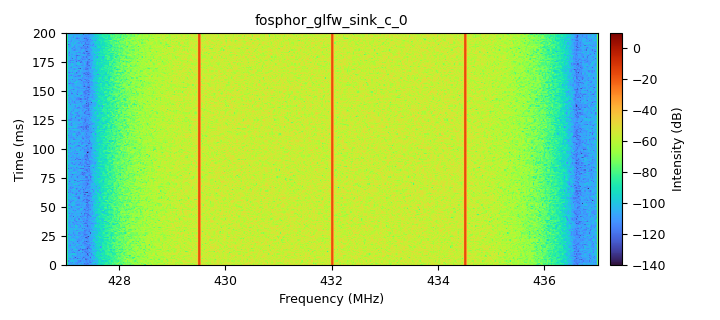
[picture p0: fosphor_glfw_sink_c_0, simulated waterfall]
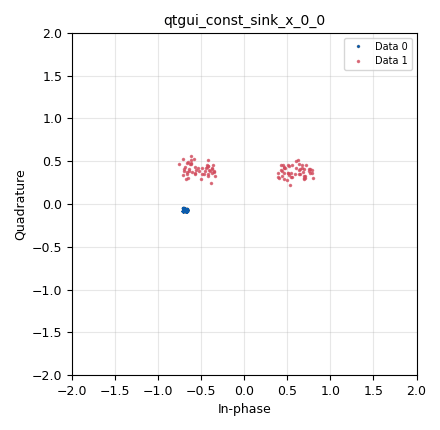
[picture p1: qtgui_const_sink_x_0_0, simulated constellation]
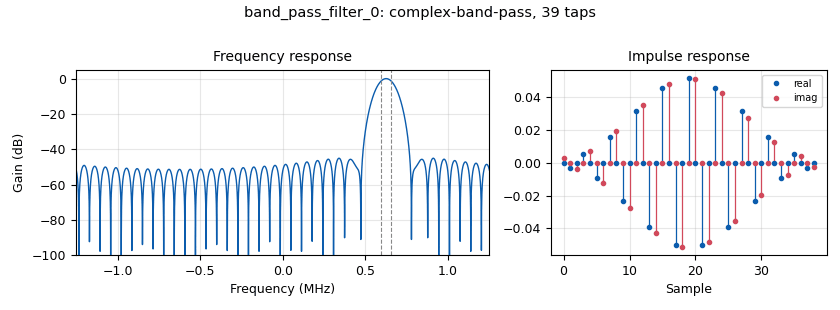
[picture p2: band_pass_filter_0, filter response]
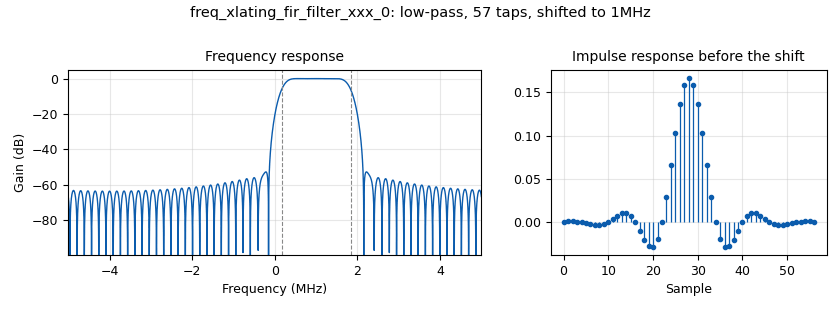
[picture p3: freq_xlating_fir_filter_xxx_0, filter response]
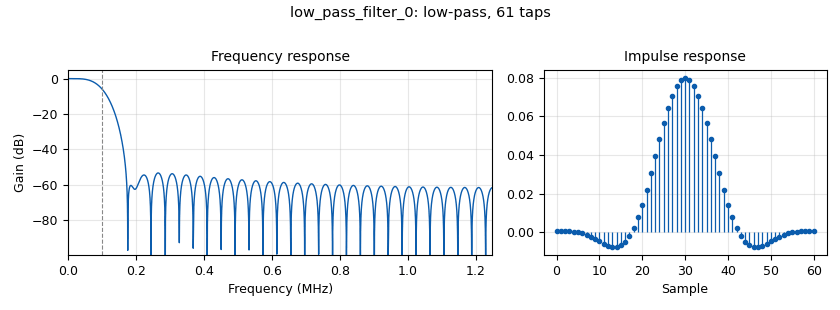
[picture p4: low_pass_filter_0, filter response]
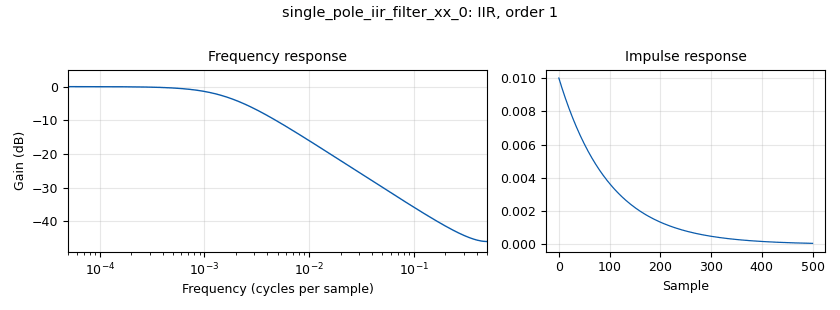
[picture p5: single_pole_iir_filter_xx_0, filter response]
<?xml version='1.0' encoding='utf-8'?>
<?grc format='1' created='3.7.11'?>
<flow_graph>
<block>
<key>options</key>
<param><key>id</key><value>top_block</value></param>
<param><key>generate_options</key><value>qt_gui</value></param>
</block>
<block>
<key>variable_qtgui_range</key>
<param><key>id</key><value>amplitude_0</value></param>
<param><key>value</key><value>1</value></param>
<param><key>orient</key><value>Qt.Horizontal</value></param>
<param><key>start</key><value>0</value></param>
<param><key>step</key><value>0.001</value></param>
<param><key>stop</key><value>1</value></param>
</block>
<block>
<key>variable_qtgui_range</key>
<param><key>id</key><value>amplitude_1</value></param>
<param><key>value</key><value>0</value></param>
<param><key>orient</key><value>Qt.Horizontal</value></param>
<param><key>start</key><value>0</value></param>
<param><key>step</key><value>0.001</value></param>
<param><key>stop</key><value>1</value></param>
</block>
<block>
<key>variable_qtgui_range</key>
<param><key>id</key><value>amplitude_2</value></param>
<param><key>value</key><value>0</value></param>
<param><key>orient</key><value>Qt.Horizontal</value></param>
<param><key>start</key><value>0</value></param>
<param><key>step</key><value>0.001</value></param>
<param><key>stop</key><value>1</value></param>
</block>
<block>
<key>variable_qtgui_range</key>
<param><key>id</key><value>angle_0</value></param>
<param><key>value</key><value>0</value></param>
<param><key>orient</key><value>Qt.Horizontal</value></param>
<param><key>start</key><value>-math.pi</value></param>
<param><key>step</key><value>math.pi/100</value></param>
<param><key>stop</key><value>math.pi</value></param>
</block>
<block>
<key>variable_qtgui_range</key>
<param><key>id</key><value>angle_1</value></param>
<param><key>value</key><value>0</value></param>
<param><key>orient</key><value>Qt.Horizontal</value></param>
<param><key>start</key><value>-math.pi</value></param>
<param><key>step</key><value>math.pi/100</value></param>
<param><key>stop</key><value>math.pi</value></param>
</block>
<block>
<key>variable_qtgui_range</key>
<param><key>id</key><value>angle_2</value></param>
<param><key>value</key><value>0</value></param>
<param><key>orient</key><value>Qt.Horizontal</value></param>
<param><key>start</key><value>-math.pi</value></param>
<param><key>step</key><value>math.pi/100</value></param>
<param><key>stop</key><value>math.pi</value></param>
</block>
<block>
<key>variable</key>
<param><key>id</key><value>antenna_position</value></param>
<param><key>value</key><value>(1, 0+1j, -1, 0-1j)</value></param>
</block>
<block>
<key>variable</key>
<param><key>id</key><value>antennas</value></param>
<param><key>value</key><value>4</value></param>
</block>
<block>
<key>variable</key>
<param><key>id</key><value>c</value></param>
<param><key>value</key><value>299792458</value></param>
</block>
<block>
<key>variable</key>
<param><key>id</key><value>carrier_freq</value></param>
<param><key>value</key><value>433e6</value></param>
</block>
<block>
<key>variable</key>
<param><key>id</key><value>decimation</value></param>
<param><key>value</key><value>4</value></param>
</block>
<block>
<key>variable</key>
<param><key>id</key><value>e</value></param>
<param><key>value</key><value>math.e</value></param>
</block>
<block>
<key>variable_qtgui_range</key>
<param><key>id</key><value>phase_0</value></param>
<param><key>value</key><value>0</value></param>
<param><key>_enabled</key><value>0</value></param>
<param><key>orient</key><value>Qt.Horizontal</value></param>
<param><key>start</key><value>-math.pi</value></param>
<param><key>step</key><value>math.pi/100</value></param>
<param><key>stop</key><value>math.pi</value></param>
</block>
<block>
<key>variable</key>
<param><key>id</key><value>phase_0</value></param>
<param><key>value</key><value>1</value></param>
</block>
<block>
<key>variable_qtgui_range</key>
<param><key>id</key><value>phase_1</value></param>
<param><key>value</key><value>0</value></param>
<param><key>_enabled</key><value>0</value></param>
<param><key>orient</key><value>Qt.Horizontal</value></param>
<param><key>start</key><value>-math.pi</value></param>
<param><key>step</key><value>math.pi/100</value></param>
<param><key>stop</key><value>math.pi</value></param>
</block>
<block>
<key>variable</key>
<param><key>id</key><value>phase_1</value></param>
<param><key>value</key><value>2</value></param>
</block>
<block>
<key>variable_qtgui_range</key>
<param><key>id</key><value>phase_2</value></param>
<param><key>value</key><value>0</value></param>
<param><key>_enabled</key><value>0</value></param>
<param><key>orient</key><value>Qt.Horizontal</value></param>
<param><key>start</key><value>-math.pi</value></param>
<param><key>step</key><value>math.pi/100</value></param>
<param><key>stop</key><value>math.pi</value></param>
</block>
<block>
<key>variable</key>
<param><key>id</key><value>phase_2</value></param>
<param><key>value</key><value>3</value></param>
</block>
<block>
<key>variable</key>
<param><key>id</key><value>radius</value></param>
<param><key>value</key><value>0.2</value></param>
</block>
<block>
<key>variable</key>
<param><key>id</key><value>rotation_rate</value></param>
<param><key>value</key><value>samp_rate/samples_per_rotation</value></param>
</block>
<block>
<key>variable</key>
<param><key>id</key><value>samp_rate</value></param>
<param><key>value</key><value>10e6</value></param>
</block>
<block>
<key>variable</key>
<param><key>id</key><value>samples_per_antenna</value></param>
<param><key>value</key><value>4</value></param>
</block>
<block>
<key>variable</key>
<param><key>id</key><value>samples_per_rotation</value></param>
<param><key>value</key><value>samples_per_antenna * antennas</value></param>
</block>
<block>
<key>variable_low_pass_filter_taps</key>
<param><key>id</key><value>taps</value></param>
<param><key>cutoff_freq</key><value>samp_rate/(decimation*3)</value></param>
<param><key>gain</key><value>1.0</value></param>
<param><key>samp_rate</key><value>samp_rate</value></param>
<param><key>width</key><value>samp_rate/(decimation*6)</value></param>
<param><key>win</key><value>firdes.WIN_HAMMING</value></param>
</block>
<block>
<key>variable</key>
<param><key>id</key><value>tau</value></param>
<param><key>value</key><value>2*math.pi</value></param>
</block>
<block>
<key>variable_qtgui_range</key>
<param><key>id</key><value>threshold</value></param>
<param><key>value</key><value>500</value></param>
<param><key>orient</key><value>Qt.Horizontal</value></param>
<param><key>start</key><value>0</value></param>
<param><key>step</key><value>1</value></param>
<param><key>stop</key><value>1000</value></param>
</block>
<block>
<key>variable</key>
<param><key>id</key><value>tuning_freq</value></param>
<param><key>value</key><value>432e6</value></param>
</block>
<block>
<key>variable</key>
<param><key>id</key><value>wavelength</value></param>
<param><key>value</key><value>c/carrier_freq</value></param>
</block>
<block>
<key>analog_const_source_x</key>
<param><key>id</key><value>analog_const_source_x_0</value></param>
<param><key>const</key><value>amplitude_0*e**(1j*(phase_0+((tau*radius*antenna_position[0]*(e**(1j*angle_0))).real/wavelength)))</value></param>
<param><key>type</key><value>complex</value></param>
</block>
<block>
<key>analog_const_source_x</key>
<param><key>id</key><value>analog_const_source_x_0_0</value></param>
<param><key>const</key><value>amplitude_0*e**(1j*(phase_0+((tau*radius*antenna_position[1]*(e**(1j*angle_0))).real/wavelength)))</value></param>
<param><key>type</key><value>complex</value></param>
</block>
<block>
<key>analog_const_source_x</key>
<param><key>id</key><value>analog_const_source_x_0_0_0</value></param>
<param><key>const</key><value>amplitude_0*e**(1j*(phase_0+((tau*radius*antenna_position[3]*(e**(1j*angle_0))).real/wavelength)))</value></param>
<param><key>type</key><value>complex</value></param>
</block>
<block>
<key>analog_const_source_x</key>
<param><key>id</key><value>analog_const_source_x_0_0_0_0</value></param>
<param><key>const</key><value>amplitude_1*e**(1j*(phase_1+((tau*radius*antenna_position[3]*(e**(1j*angle_1))).real/wavelength)))</value></param>
<param><key>type</key><value>complex</value></param>
</block>
<block>
<key>analog_const_source_x</key>
<param><key>id</key><value>analog_const_source_x_0_0_0_1</value></param>
<param><key>const</key><value>amplitude_2*e**(1j*(phase_2+((tau*radius*antenna_position[3]*(e**(1j*angle_2))).real/wavelength)))</value></param>
<param><key>type</key><value>complex</value></param>
</block>
<block>
<key>analog_const_source_x</key>
<param><key>id</key><value>analog_const_source_x_0_0_1</value></param>
<param><key>const</key><value>amplitude_1*e**(1j*(phase_1+((tau*radius*antenna_position[1]*(e**(1j*angle_1))).real/wavelength)))</value></param>
<param><key>type</key><value>complex</value></param>
</block>
<block>
<key>analog_const_source_x</key>
<param><key>id</key><value>analog_const_source_x_0_0_2</value></param>
<param><key>const</key><value>amplitude_2*e**(1j*(phase_2+((tau*radius*antenna_position[1]*(e**(1j*angle_2))).real/wavelength)))</value></param>
<param><key>type</key><value>complex</value></param>
</block>
<block>
<key>analog_const_source_x</key>
<param><key>id</key><value>analog_const_source_x_0_1</value></param>
<param><key>const</key><value>amplitude_0*e**(1j*(phase_0+((tau*radius*antenna_position[2]*(e**(1j*angle_0))).real/wavelength)))</value></param>
<param><key>type</key><value>complex</value></param>
</block>
<block>
<key>analog_const_source_x</key>
<param><key>id</key><value>analog_const_source_x_0_1_0</value></param>
<param><key>const</key><value>amplitude_1*e**(1j*(phase_1+((tau*radius*antenna_position[2]*(e**(1j*angle_1))).real/wavelength)))</value></param>
<param><key>type</key><value>complex</value></param>
</block>
<block>
<key>analog_const_source_x</key>
<param><key>id</key><value>analog_const_source_x_0_1_1</value></param>
<param><key>const</key><value>amplitude_2*e**(1j*(phase_2+((tau*radius*antenna_position[2]*(e**(1j*angle_2))).real/wavelength)))</value></param>
<param><key>type</key><value>complex</value></param>
</block>
<block>
<key>analog_const_source_x</key>
<param><key>id</key><value>analog_const_source_x_0_2</value></param>
<param><key>const</key><value>amplitude_1*e**(1j*(phase_1+((tau*radius*antenna_position[0]*(e**(1j*angle_1))).real/wavelength)))</value></param>
<param><key>type</key><value>complex</value></param>
</block>
<block>
<key>analog_const_source_x</key>
<param><key>id</key><value>analog_const_source_x_0_3</value></param>
<param><key>const</key><value>amplitude_2*e**(1j*(phase_2+((tau*radius*antenna_position[0]*(e**(1j*angle_2))).real/wavelength)))</value></param>
<param><key>type</key><value>complex</value></param>
</block>
<block>
<key>analog_fastnoise_source_x</key>
<param><key>id</key><value>analog_fastnoise_source_x_0</value></param>
<param><key>amp</key><value>0.2</value></param>
<param><key>noise_type</key><value>analog.GR_GAUSSIAN</value></param>
<param><key>type</key><value>complex</value></param>
<param><key>seed</key><value>0</value></param>
<param><key>samples</key><value>8192</value></param>
</block>
<block>
<key>analog_quadrature_demod_cf</key>
<param><key>id</key><value>analog_quadrature_demod_cf_0</value></param>
<param><key>gain</key><value>0.2</value></param>
</block>
<block>
<key>analog_sig_source_x</key>
<param><key>id</key><value>analog_sig_source_x_0</value></param>
<param><key>amp</key><value>1</value></param>
<param><key>freq</key><value>carrier_freq-tuning_freq</value></param>
<param><key>offset</key><value>0</value></param>
<param><key>type</key><value>complex</value></param>
<param><key>samp_rate</key><value>samp_rate</value></param>
<param><key>waveform</key><value>analog.GR_COS_WAVE</value></param>
</block>
<block>
<key>analog_sig_source_x</key>
<param><key>id</key><value>analog_sig_source_x_0_0</value></param>
<param><key>amp</key><value>1</value></param>
<param><key>freq</key><value>-rotation_rate</value></param>
<param><key>offset</key><value>0</value></param>
<param><key>type</key><value>complex</value></param>
<param><key>samp_rate</key><value>samp_rate/decimation</value></param>
<param><key>waveform</key><value>analog.GR_COS_WAVE</value></param>
</block>
<block>
<key>band_pass_filter</key>
<param><key>id</key><value>band_pass_filter_0</value></param>
<param><key>decim</key><value>1</value></param>
<param><key>type</key><value>fir_filter_ccc</value></param>
<param><key>gain</key><value>1</value></param>
<param><key>high_cutoff_freq</key><value>rotation_rate*1.05</value></param>
<param><key>low_cutoff_freq</key><value>rotation_rate*.95</value></param>
<param><key>samp_rate</key><value>samp_rate/decimation</value></param>
<param><key>width</key><value>rotation_rate/4</value></param>
<param><key>win</key><value>firdes.WIN_HAMMING</value></param>
</block>
<block>
<key>blocks_add_xx</key>
<param><key>id</key><value>blocks_add_xx_0</value></param>
<param><key>type</key><value>complex</value></param>
<param><key>num_inputs</key><value>3</value></param>
</block>
<block>
<key>blocks_add_xx</key>
<param><key>id</key><value>blocks_add_xx_1</value></param>
<param><key>type</key><value>complex</value></param>
</block>
<block>
<key>blocks_burst_tagger</key>
<param><key>id</key><value>blocks_burst_tagger_0</value></param>
<param><key>false_key</key><value>burst</value></param>
<param><key>false_value</key><value>False</value></param>
<param><key>type</key><value>complex</value></param>
<param><key>true_key</key><value>burst</value></param>
<param><key>true_value</key><value>True</value></param>
</block>
<block>
<key>blocks_complex_to_mag</key>
<param><key>id</key><value>blocks_complex_to_mag_0</value></param>
</block>
<block>
<key>blocks_complex_to_mag</key>
<param><key>id</key><value>blocks_complex_to_mag_1</value></param>
</block>
<block>
<key>blocks_divide_xx</key>
<param><key>id</key><value>blocks_divide_xx_0</value></param>
<param><key>type</key><value>complex</value></param>
</block>
<block>
<key>blocks_file_source</key>
<param><key>id</key><value>blocks_file_source_0</value></param>
<param><key>_enabled</key><value>0</value></param>
<param><key>type</key><value>complex</value></param>
<param><key>repeat</key><value>True</value></param>
</block>
<block>
<key>blocks_float_to_complex</key>
<param><key>id</key><value>blocks_float_to_complex_0</value></param>
</block>
<block>
<key>blocks_float_to_complex</key>
<param><key>id</key><value>blocks_float_to_complex_0_0</value></param>
</block>
<block>
<key>blocks_float_to_complex</key>
<param><key>id</key><value>blocks_float_to_complex_0_0_0</value></param>
</block>
<block>
<key>blocks_float_to_short</key>
<param><key>id</key><value>blocks_float_to_short_0</value></param>
<param><key>scale</key><value>1</value></param>
</block>
<block>
<key>blocks_multiply_const_vxx</key>
<param><key>id</key><value>blocks_multiply_const_vxx_0_0</value></param>
<param><key>const</key><value>32767</value></param>
<param><key>type</key><value>float</value></param>
</block>
<block>
<key>blocks_multiply_xx</key>
<param><key>id</key><value>blocks_multiply_xx_0</value></param>
<param><key>type</key><value>complex</value></param>
</block>
<block>
<key>blocks_multiply_xx</key>
<param><key>id</key><value>blocks_multiply_xx_0_0</value></param>
<param><key>type</key><value>complex</value></param>
</block>
<block>
<key>blocks_multiply_xx</key>
<param><key>id</key><value>blocks_multiply_xx_0_0_0</value></param>
<param><key>type</key><value>complex</value></param>
</block>
<block>
<key>blocks_multiply_xx</key>
<param><key>id</key><value>blocks_multiply_xx_0_1</value></param>
<param><key>type</key><value>complex</value></param>
</block>
<block>
<key>blocks_multiply_xx</key>
<param><key>id</key><value>blocks_multiply_xx_0_1_0</value></param>
<param><key>type</key><value>complex</value></param>
</block>
<block>
<key>blocks_stream_mux</key>
<param><key>id</key><value>blocks_stream_mux_0</value></param>
<param><key>lengths</key><value>(samples_per_antenna,)*4</value></param>
<param><key>num_inputs</key><value>antennas</value></param>
<param><key>type</key><value>complex</value></param>
</block>
<block>
<key>blocks_stream_mux</key>
<param><key>id</key><value>blocks_stream_mux_0_0</value></param>
<param><key>lengths</key><value>(samples_per_antenna,)*4</value></param>
<param><key>num_inputs</key><value>antennas</value></param>
<param><key>type</key><value>complex</value></param>
</block>
<block>
<key>blocks_stream_mux</key>
<param><key>id</key><value>blocks_stream_mux_0_0_0</value></param>
<param><key>lengths</key><value>(samples_per_antenna,)*4</value></param>
<param><key>num_inputs</key><value>antennas</value></param>
<param><key>type</key><value>complex</value></param>
</block>
<block>
<key>blocks_threshold_ff</key>
<param><key>id</key><value>blocks_threshold_ff_0</value></param>
<param><key>high</key><value>threshold</value></param>
<param><key>init</key><value>0</value></param>
<param><key>low</key><value>threshold/2</value></param>
</block>
<block>
<key>blocks_throttle</key>
<param><key>id</key><value>blocks_throttle_0</value></param>
<param><key>samples_per_second</key><value>samp_rate</value></param>
<param><key>type</key><value>complex</value></param>
</block>
<block>
<key>dc_blocker_xx</key>
<param><key>id</key><value>dc_blocker_xx_0</value></param>
<param><key>_enabled</key><value>0</value></param>
<param><key>length</key><value>320</value></param>
<param><key>long_form</key><value>True</value></param>
<param><key>type</key><value>cc</value></param>
</block>
<block>
<key>digital_costas_loop_cc</key>
<param><key>id</key><value>digital_costas_loop_cc_0</value></param>
<param><key>w</key><value>6.28/100</value></param>
<param><key>order</key><value>2</value></param>
</block>
<block>
<key>fosphor_glfw_sink_c</key>
<param><key>id</key><value>fosphor_glfw_sink_c_0</value></param>
<param><key>freq_center</key><value>tuning_freq</value></param>
<param><key>freq_span</key><value>samp_rate</value></param>
</block>
<block>
<key>freq_xlating_fir_filter_xxx</key>
<param><key>id</key><value>freq_xlating_fir_filter_xxx_0</value></param>
<param><key>center_freq</key><value>carrier_freq-tuning_freq</value></param>
<param><key>decim</key><value>decimation</value></param>
<param><key>samp_rate</key><value>samp_rate</value></param>
<param><key>taps</key><value>taps</value></param>
<param><key>type</key><value>ccc</value></param>
</block>
<block>
<key>import</key>
<param><key>id</key><value>import_0</value></param>
<param><key>import</key><value>import math</value></param>
</block>
<block>
<key>low_pass_filter</key>
<param><key>id</key><value>low_pass_filter_0</value></param>
<param><key>cutoff_freq</key><value>samp_rate/100</value></param>
<param><key>decim</key><value>1</value></param>
<param><key>type</key><value>fir_filter_fff</value></param>
<param><key>gain</key><value>1</value></param>
<param><key>samp_rate</key><value>samp_rate/decimation</value></param>
<param><key>width</key><value>samp_rate/100</value></param>
<param><key>win</key><value>firdes.WIN_HAMMING</value></param>
</block>
<block>
<key>qtgui_const_sink_x</key>
<param><key>id</key><value>qtgui_const_sink_x_0_0</value></param>
<param><key>grid</key><value>True</value></param>
<param><key>alpha2</key><value>0.1</value></param>
<param><key>nconnections</key><value>2</value></param>
<param><key>size</key><value>100</value></param>
<param><key>tr_level</key><value>0.1</value></param>
<param><key>tr_tag</key><value>"burst"</value></param>
<param><key>type</key><value>complex</value></param>
</block>
<block>
<key>single_pole_iir_filter_xx</key>
<param><key>id</key><value>single_pole_iir_filter_xx_0</value></param>
<param><key>alpha</key><value>.01</value></param>
<param><key>type</key><value>float</value></param>
</block>
<connection><source_block_id>analog_const_source_x_0</source_block_id><sink_block_id>blocks_stream_mux_0</sink_block_id><source_key>0</source_key><sink_key>0</sink_key></connection>
<connection><source_block_id>analog_const_source_x_0_0</source_block_id><sink_block_id>blocks_stream_mux_0</sink_block_id><source_key>0</source_key><sink_key>1</sink_key></connection>
<connection><source_block_id>analog_const_source_x_0_0_0</source_block_id><sink_block_id>blocks_stream_mux_0</sink_block_id><source_key>0</source_key><sink_key>3</sink_key></connection>
<connection><source_block_id>analog_const_source_x_0_0_0_0</source_block_id><sink_block_id>blocks_stream_mux_0_0</sink_block_id><source_key>0</source_key><sink_key>3</sink_key></connection>
<connection><source_block_id>analog_const_source_x_0_0_0_1</source_block_id><sink_block_id>blocks_stream_mux_0_0_0</sink_block_id><source_key>0</source_key><sink_key>3</sink_key></connection>
<connection><source_block_id>analog_const_source_x_0_0_1</source_block_id><sink_block_id>blocks_stream_mux_0_0</sink_block_id><source_key>0</source_key><sink_key>1</sink_key></connection>
<connection><source_block_id>analog_const_source_x_0_0_2</source_block_id><sink_block_id>blocks_stream_mux_0_0_0</sink_block_id><source_key>0</source_key><sink_key>1</sink_key></connection>
<connection><source_block_id>analog_const_source_x_0_1</source_block_id><sink_block_id>blocks_stream_mux_0</sink_block_id><source_key>0</source_key><sink_key>2</sink_key></connection>
<connection><source_block_id>analog_const_source_x_0_1_0</source_block_id><sink_block_id>blocks_stream_mux_0_0</sink_block_id><source_key>0</source_key><sink_key>2</sink_key></connection>
<connection><source_block_id>analog_const_source_x_0_1_1</source_block_id><sink_block_id>blocks_stream_mux_0_0_0</sink_block_id><source_key>0</source_key><sink_key>2</sink_key></connection>
<connection><source_block_id>analog_const_source_x_0_2</source_block_id><sink_block_id>blocks_stream_mux_0_0</sink_block_id><source_key>0</source_key><sink_key>0</sink_key></connection>
<connection><source_block_id>analog_const_source_x_0_3</source_block_id><sink_block_id>blocks_stream_mux_0_0_0</sink_block_id><source_key>0</source_key><sink_key>0</sink_key></connection>
<connection><source_block_id>analog_fastnoise_source_x_0</source_block_id><sink_block_id>blocks_add_xx_1</sink_block_id><source_key>0</source_key><sink_key>1</sink_key></connection>
<connection><source_block_id>analog_quadrature_demod_cf_0</source_block_id><sink_block_id>blocks_float_to_complex_0</sink_block_id><source_key>0</source_key><sink_key>0</sink_key></connection>
<connection><source_block_id>analog_sig_source_x_0</source_block_id><sink_block_id>blocks_add_xx_1</sink_block_id><source_key>0</source_key><sink_key>0</sink_key></connection>
<connection><source_block_id>analog_sig_source_x_0_0</source_block_id><sink_block_id>blocks_multiply_xx_0_0</sink_block_id><source_key>0</source_key><sink_key>1</sink_key></connection>
<connection><source_block_id>band_pass_filter_0</source_block_id><sink_block_id>blocks_multiply_xx_0_0</sink_block_id><source_key>0</source_key><sink_key>0</sink_key></connection>
<connection><source_block_id>blocks_add_xx_0</source_block_id><sink_block_id>blocks_throttle_0</sink_block_id><source_key>0</source_key><sink_key>0</sink_key></connection>
<connection><source_block_id>blocks_add_xx_1</source_block_id><sink_block_id>blocks_multiply_xx_0</sink_block_id><source_key>0</source_key><sink_key>0</sink_key></connection>
<connection><source_block_id>blocks_add_xx_1</source_block_id><sink_block_id>blocks_multiply_xx_0_1</sink_block_id><source_key>0</source_key><sink_key>0</sink_key></connection>
<connection><source_block_id>blocks_add_xx_1</source_block_id><sink_block_id>blocks_multiply_xx_0_1_0</sink_block_id><source_key>0</source_key><sink_key>0</sink_key></connection>
<connection><source_block_id>blocks_burst_tagger_0</source_block_id><sink_block_id>analog_quadrature_demod_cf_0</sink_block_id><source_key>0</source_key><sink_key>0</sink_key></connection>
<connection><source_block_id>blocks_burst_tagger_0</source_block_id><sink_block_id>digital_costas_loop_cc_0</sink_block_id><source_key>0</source_key><sink_key>0</sink_key></connection>
<connection><source_block_id>blocks_complex_to_mag_0</source_block_id><sink_block_id>blocks_multiply_const_vxx_0_0</sink_block_id><source_key>0</source_key><sink_key>0</sink_key></connection>
<connection><source_block_id>blocks_complex_to_mag_0</source_block_id><sink_block_id>low_pass_filter_0</sink_block_id><source_key>0</source_key><sink_key>0</sink_key></connection>
<connection><source_block_id>blocks_complex_to_mag_1</source_block_id><sink_block_id>blocks_float_to_complex_0_0_0</sink_block_id><source_key>0</source_key><sink_key>0</sink_key></connection>
<connection><source_block_id>blocks_divide_xx_0</source_block_id><sink_block_id>blocks_multiply_xx_0_0_0</sink_block_id><source_key>0</source_key><sink_key>1</sink_key></connection>
<connection><source_block_id>blocks_file_source_0</source_block_id><sink_block_id>dc_blocker_xx_0</sink_block_id><source_key>0</source_key><sink_key>0</sink_key></connection>
<connection><source_block_id>blocks_float_to_complex_0</source_block_id><sink_block_id>band_pass_filter_0</sink_block_id><source_key>0</source_key><sink_key>0</sink_key></connection>
<connection><source_block_id>blocks_float_to_complex_0_0</source_block_id><sink_block_id>blocks_multiply_xx_0_0_0</sink_block_id><source_key>0</source_key><sink_key>0</sink_key></connection>
<connection><source_block_id>blocks_float_to_complex_0_0_0</source_block_id><sink_block_id>blocks_divide_xx_0</sink_block_id><source_key>0</source_key><sink_key>1</sink_key></connection>
<connection><source_block_id>blocks_float_to_short_0</source_block_id><sink_block_id>blocks_burst_tagger_0</sink_block_id><source_key>0</source_key><sink_key>1</sink_key></connection>
<connection><source_block_id>blocks_multiply_const_vxx_0_0</source_block_id><sink_block_id>single_pole_iir_filter_xx_0</sink_block_id><source_key>0</source_key><sink_key>0</sink_key></connection>
<connection><source_block_id>blocks_multiply_xx_0</source_block_id><sink_block_id>blocks_add_xx_0</sink_block_id><source_key>0</source_key><sink_key>0</sink_key></connection>
<connection><source_block_id>blocks_multiply_xx_0_0</source_block_id><sink_block_id>blocks_complex_to_mag_1</sink_block_id><source_key>0</source_key><sink_key>0</sink_key></connection>
<connection><source_block_id>blocks_multiply_xx_0_0</source_block_id><sink_block_id>blocks_divide_xx_0</sink_block_id><source_key>0</source_key><sink_key>0</sink_key></connection>
<connection><source_block_id>blocks_multiply_xx_0_0_0</source_block_id><sink_block_id>qtgui_const_sink_x_0_0</sink_block_id><source_key>0</source_key><sink_key>0</sink_key></connection>
<connection><source_block_id>blocks_multiply_xx_0_1</source_block_id><sink_block_id>blocks_add_xx_0</sink_block_id><source_key>0</source_key><sink_key>1</sink_key></connection>
<connection><source_block_id>blocks_multiply_xx_0_1_0</source_block_id><sink_block_id>blocks_add_xx_0</sink_block_id><source_key>0</source_key><sink_key>2</sink_key></connection>
<connection><source_block_id>blocks_stream_mux_0</source_block_id><sink_block_id>blocks_multiply_xx_0</sink_block_id><source_key>0</source_key><sink_key>1</sink_key></connection>
<connection><source_block_id>blocks_stream_mux_0_0</source_block_id><sink_block_id>blocks_multiply_xx_0_1</sink_block_id><source_key>0</source_key><sink_key>1</sink_key></connection>
<connection><source_block_id>blocks_stream_mux_0_0_0</source_block_id><sink_block_id>blocks_multiply_xx_0_1_0</sink_block_id><source_key>0</source_key><sink_key>1</sink_key></connection>
<connection><source_block_id>blocks_threshold_ff_0</source_block_id><sink_block_id>blocks_float_to_short_0</sink_block_id><source_key>0</source_key><sink_key>0</sink_key></connection>
<connection><source_block_id>blocks_throttle_0</source_block_id><sink_block_id>freq_xlating_fir_filter_xxx_0</sink_block_id><source_key>0</source_key><sink_key>0</sink_key></connection>
<connection><source_block_id>dc_blocker_xx_0</source_block_id><sink_block_id>blocks_add_xx_1</sink_block_id><source_key>0</source_key><sink_key>0</sink_key></connection>
<connection><source_block_id>digital_costas_loop_cc_0</source_block_id><sink_block_id>qtgui_const_sink_x_0_0</sink_block_id><source_key>0</source_key><sink_key>1</sink_key></connection>
<connection><source_block_id>freq_xlating_fir_filter_xxx_0</source_block_id><sink_block_id>blocks_burst_tagger_0</sink_block_id><source_key>0</source_key><sink_key>0</sink_key></connection>
<connection><source_block_id>freq_xlating_fir_filter_xxx_0</source_block_id><sink_block_id>blocks_complex_to_mag_0</sink_block_id><source_key>0</source_key><sink_key>0</sink_key></connection>
<connection><source_block_id>freq_xlating_fir_filter_xxx_0</source_block_id><sink_block_id>fosphor_glfw_sink_c_0</sink_block_id><source_key>0</source_key><sink_key>0</sink_key></connection>
<connection><source_block_id>low_pass_filter_0</source_block_id><sink_block_id>blocks_float_to_complex_0_0</sink_block_id><source_key>0</source_key><sink_key>0</sink_key></connection>
<connection><source_block_id>single_pole_iir_filter_xx_0</source_block_id><sink_block_id>blocks_threshold_ff_0</sink_block_id><source_key>0</source_key><sink_key>0</sink_key></connection>
</flow_graph>
